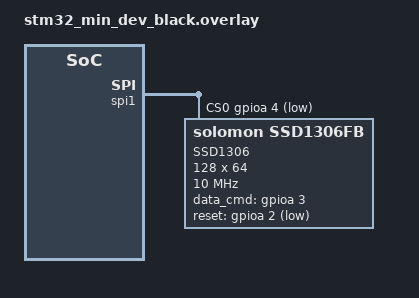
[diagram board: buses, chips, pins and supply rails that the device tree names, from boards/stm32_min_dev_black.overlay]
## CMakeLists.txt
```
# SPDX-License-Identifier: Apache-2.0

cmake_minimum_required(VERSION 3.13.1)

# Depended on your own environment variable
set(GNUARMEMB_TOOLCHAIN_PATH "$ENV{GCC_ARM_HOME}")
set(ZEPHYR_TOOLCHAIN_VARIANT gnuarmemb)

list(APPEND BOARD_ROOT ${CMAKE_CURRENT_SOURCE_DIR})

find_package(Zephyr REQUIRED HINTS $ENV{ZEPHYR_BASE})

project(cfb_custom_font_demo)

include(${ZEPHYR_BASE}/cmake/cfb.cmake NO_POLICY_SCOPE)


FILE(GLOB app_sources src/*.c)
target_sources(app PRIVATE ${app_sources})

set(gen_dir ${ZEPHYR_BINARY_DIR}/include/generated/)
generate_cfb_font_for_target(app fonts/fsex302.ttf ${gen_dir}/cfb_font_fixedsys32.h 8 16 -s 16 --first 32 --last 126)
generate_cfb_font_for_target(app fonts/JetBrainsMono-Bold.ttf ${gen_dir}/cfb_font_jetbrains_mono_bold.h 26 48 -s 40 --first 32 --last 126)
```

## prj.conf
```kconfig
CONFIG_HEAP_MEM_POOL_SIZE=4096
CONFIG_LOG=y
CONFIG_DISPLAY=y
CONFIG_SSD1306=y


CONFIG_CFB_LOG_LEVEL_DBG=y
CONFIG_CHARACTER_FRAMEBUFFER=y
CONFIG_CHARACTER_FRAMEBUFFER_USE_DEFAULT_FONTS=n
CONFIG_SSD1306_REVERSE_MODE=y
```

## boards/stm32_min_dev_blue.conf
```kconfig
CONFIG_SPI=y
CONFIG_SSD1306=y
```

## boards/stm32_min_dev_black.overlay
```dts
/*
 * Copyright (c) 2018 Jan Van Winkel <jan.van_winkel@dxplore.eu>
 *
 * SPDX-License-Identifier: Apache-2.0
 */

&spi1 {
		cs-gpios = <&gpioa 4 (GPIO_ACTIVE_LOW)>;
	ssd1306@0 {
		compatible = "solomon,ssd1306fb";
		reg = <0x0>;
		label = "SSD1306";
		spi-max-frequency = <10000000>;
		width = <128>;
		height = <64>;
		segment-offset = <0>;
		page-offset = <0>;
		display-offset = <0>;
		multiplex-ratio = <63>;
		segment-remap;
		com-invdir;
		prechargep = <0x22>;
		data_cmd-gpios = <&gpioa 3 GPIO_ACTIVE_HIGH>;
		reset-gpios = <&gpioa 2 GPIO_ACTIVE_LOW>;
	};
};
```

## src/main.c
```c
/*
 * Copyright (c) 2018 PHYTEC Messtechnik GmbH
 * Copyright (c) 2020 Li "oldrev" Wei <oldrevATTgmail.com>
 *
 * SPDX-License-Identifier: Apache-2.0
 */

#include <zephyr.h>
#include <device.h>
#include <display/cfb.h>
#include <stdio.h>

#include "cfb_font_fixedsys32.h"
#include "cfb_font_jetbrains_mono_bold.h"

#if defined(CONFIG_SSD1306)
#define DISPLAY_DRIVER "SSD1306"
#endif

#ifndef DISPLAY_DRIVER
#define DISPLAY_DRIVER "DISPLAY"
#endif

void main(void)
{
	const struct device *dev;
	uint16_t rows;
	uint8_t ppt;

	dev = device_get_binding(DISPLAY_DRIVER);

	if (dev == NULL)
	{
		printf("Device not found\n");
		return;
	}

	if (display_set_pixel_format(dev, PIXEL_FORMAT_MONO10) != 0)
	{
		printf("Failed to set required pixel format\n");
		return;
	}

	printf("initialized %s\n", DISPLAY_DRIVER);

	if (cfb_framebuffer_init(dev))
	{
		printf("Framebuffer initialization failed!\n");
		return;
	}

	cfb_framebuffer_clear(dev, true);

	display_blanking_off(dev);

	rows = cfb_get_display_parameter(dev, CFB_DISPLAY_ROWS);
	ppt = cfb_get_display_parameter(dev, CFB_DISPLAY_PPT);

	for (int idx = 0; idx < 42; idx++)
	{
		int font_width, font_height;
		if (cfb_get_font_size(dev, idx, &font_width, &font_height))
		{
			break;
		}
		cfb_framebuffer_set_font(dev, idx);
		printf("font width %d, font height %d\n",
			   font_width, font_height);
	}

	printf("x_res %d, y_res %d, ppt %d, rows %d, cols %d\n",
		   cfb_get_display_parameter(dev, CFB_DISPLAY_WIDTH),
		   cfb_get_display_parameter(dev, CFB_DISPLAY_HEIGH),
		   ppt,
		   rows,
		   cfb_get_display_parameter(dev, CFB_DISPLAY_COLS));

	char buf[32];
	int i = 0;
	while (1)
	{
		cfb_framebuffer_clear(dev, false);
		cfb_framebuffer_set_font(dev, 1);
		cfb_print(dev, "Hi! FixedSys32!", 0, 0);
		cfb_framebuffer_set_font(dev, 0);
		snprintf(buf, sizeof(buf), "%d", i);
		cfb_print(dev, buf, 0, 16);
		cfb_framebuffer_finalize(dev);
		i++;
		k_msleep(1000);
	}
}
```
